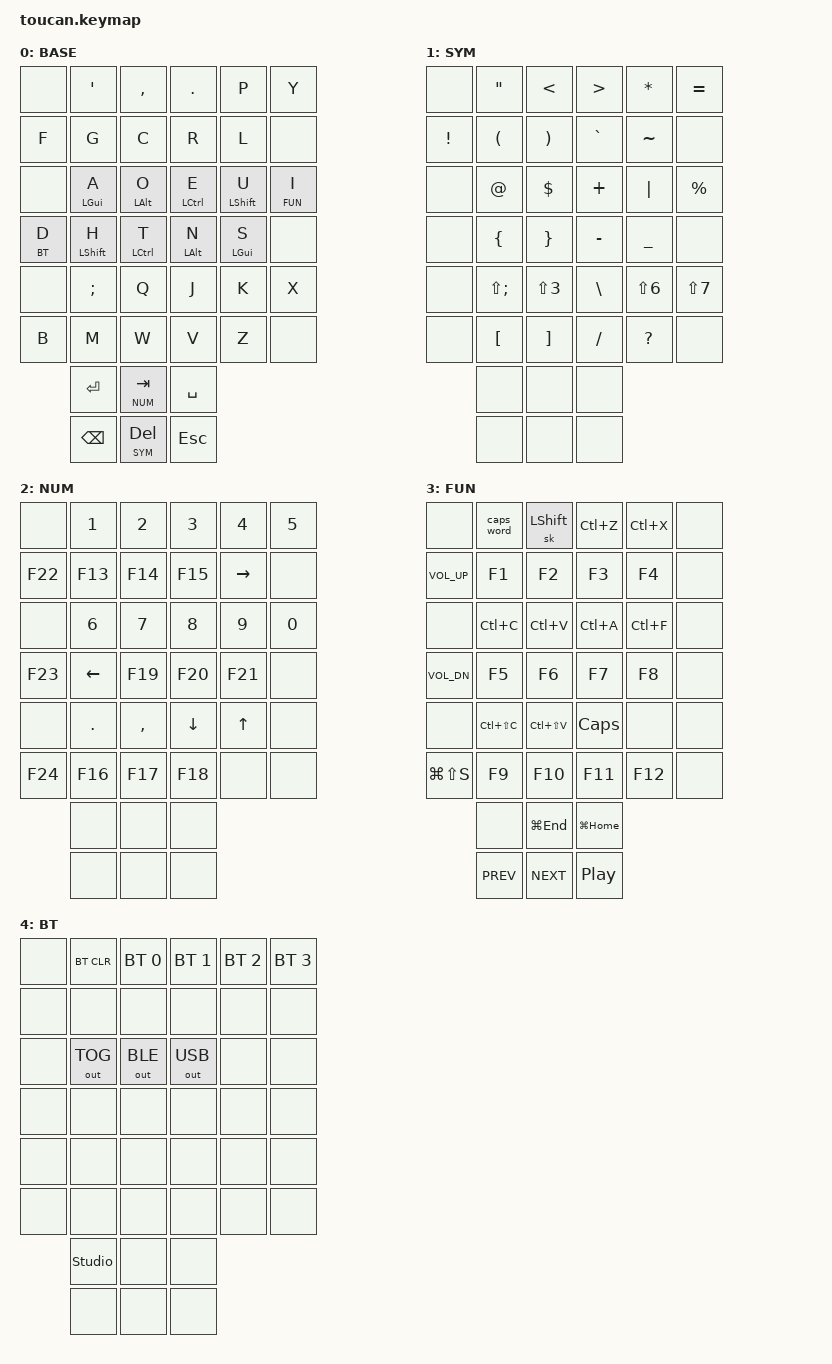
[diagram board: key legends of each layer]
// Toucan ZMK Keymap — converted from Dilemma Dvorak QMK layout
// Padded to 42-key matrix (6x3+3 per side) — outer column = &none

#include <behaviors.dtsi>
#include <dt-bindings/zmk/keys.h>
#include <dt-bindings/zmk/bt.h>
#include <dt-bindings/zmk/outputs.h>

#define BASE  0
#define SYM   1
#define NUM   2
#define FUN   3
#define BT    4

/ {
    behaviors {
        hml: homerow_mods_left {
            compatible = "zmk,behavior-hold-tap";
            #binding-cells = <2>;
            flavor = "balanced";
            tapping-term-ms = <280>;
            quick-tap-ms = <175>;
            require-prior-idle-ms = <150>;
            bindings = <&kp>, <&kp>;
            hold-trigger-key-positions = <6 7 8 9 10 11 18 19 20 21 22 23 30 31 32 33 34 35 39 40 41>;
            hold-trigger-on-release;
        };
        hmr: homerow_mods_right {
            compatible = "zmk,behavior-hold-tap";
            #binding-cells = <2>;
            flavor = "balanced";
            tapping-term-ms = <280>;
            quick-tap-ms = <175>;
            require-prior-idle-ms = <150>;
            bindings = <&kp>, <&kp>;
            hold-trigger-key-positions = <0 1 2 3 4 5 12 13 14 15 16 17 24 25 26 27 28 29 36 37 38>;
            hold-trigger-on-release;
        };

        studio_unlock: studio_unlock {
            compatible = "zmk,behavior-studio-unlock";
            #binding-cells = <0>;
        };

        // ── Layer-tap variants for easy tapping-term tuning ──────────────────
        // Swap the &lt alias in base_layer to one of these to test feel:

        // Faster: 200ms tapping-term, no quick-tap (maximises hold reliability)
        lt_fast: lt_fast {
            compatible = "zmk,behavior-hold-tap";
            #binding-cells = <2>;
            flavor = "balanced";
            tapping-term-ms = <200>;
            quick-tap-ms = <0>;
            require-prior-idle-ms = <125>;
            bindings = <&mo>, <&kp>;
        };

        // Default feel (same as built-in &lt but explicit)
        lt_default: lt_default {
            compatible = "zmk,behavior-hold-tap";
            #binding-cells = <2>;
            flavor = "balanced";
            tapping-term-ms = <280>;
            quick-tap-ms = <175>;
            require-prior-idle-ms = <150>;
            bindings = <&mo>, <&kp>;
        };

        // Slower/safer: 350ms tapping-term, generous quick-tap
        lt_slow: lt_slow {
            compatible = "zmk,behavior-hold-tap";
            #binding-cells = <2>;
            flavor = "balanced";
            tapping-term-ms = <350>;
            quick-tap-ms = <200>;
            require-prior-idle-ms = <175>;
            bindings = <&mo>, <&kp>;
        };
    };

    keymap {
        compatible = "zmk,keymap";

        // Layer 0: BASE (Dvorak)
        // _  '  ,  .  P  Y  |  F  G  C  R  L  _
        // _  A  O  E  U  I  |  D  H  T  N  S  _
        // _  ;  Q  J  K  X  |  B  M  W  V  Z  _
        //       ENT TAB SPC | BSPC DEL ESC
        //
        // To test LT feel: replace &lt with &lt_fast, &lt_default, or &lt_slow
        base_layer {
            label = "BASE";
            bindings = <
                &none  &kp QUOT      &kp COMMA     &kp DOT      &kp P        &kp Y
                       &kp F         &kp G         &kp C        &kp R        &kp L       &none

                &none  &hml LGUI A   &hml LALT O   &hml LCTRL E &hml LSHFT U &lt FUN I
                       &lt BT D      &hmr LSHFT H  &hmr LCTRL T &hmr LALT N  &hmr LGUI S &none

                &none  &kp SEMI      &kp Q         &kp J        &kp K        &kp X
                       &kp B         &kp M         &kp W        &kp V        &kp Z       &none

                       &kp RET       &lt NUM TAB   &kp SPACE
                       &kp BSPC      &lt SYM DEL   &kp ESC
            >;
        };

        // Layer 1: SYM (Symbols)
        sym_layer {
            label = "SYM";
            bindings = <
                &none  &kp DQT       &kp LT        &kp GT       &kp ASTRK    &kp EQUAL
                       &kp EXCL      &kp LPAR      &kp RPAR     &kp GRAVE    &kp TILDE   &none

                &none  &kp AT        &kp DLLR      &kp PLUS     &kp PIPE     &kp PRCNT
                       &none         &kp LBRC      &kp RBRC     &kp MINUS    &kp UNDER   &none

                &none  &kp LS(SEMI) &kp LS(N3) &kp BSLH &kp LS(N6) &kp LS(N7)
                       &none        &kp LBKT    &kp RBKT &kp SLASH  &kp QMARK  &none

                       &none         &none         &none
                       &none         &none         &none
            >;
        };

        // Layer 2: NUM (Numbers + Nav)
        num_layer {
            label = "NUM";
            bindings = <
                &none  &kp N1        &kp N2        &kp N3       &kp N4       &kp N5
                       &kp F22       &kp F13       &kp F14      &kp F15      &kp RIGHT   &none

                &none  &kp N6        &kp N7        &kp N8       &kp N9       &kp N0
                       &kp F23       &kp LEFT      &kp F19      &kp F20      &kp F21     &none

                &none  &kp DOT       &kp COMMA     &kp DOWN     &kp UP       &none
                       &kp F24       &kp F16       &kp F17      &kp F18      &none       &none

                       &none         &none         &none
                       &none         &none         &none
            >;
        };

        // Layer 3: FUN (Function + Media)
        fun_layer {
            label = "FUN";
            bindings = <
                &none  &caps_word    &sk LSHFT     &kp LC(Z)    &kp LC(X)    &none
                       &kp C_VOL_UP  &kp F1        &kp F2       &kp F3       &kp F4      &none

                &none  &kp LC(C)     &kp LC(V)     &kp LC(A)    &kp LC(F)    &none
                       &kp C_VOL_DN  &kp F5        &kp F6       &kp F7       &kp F8      &none

                &none  &kp LC(LS(C)) &kp LC(LS(V)) &kp CAPS     &none        &none
                       &kp LG(LS(S)) &kp F9        &kp F10      &kp F11      &kp F12     &none

                       &none         &kp LG(END)   &kp LG(HOME)
                       &kp C_PREV    &kp C_NEXT    &kp C_PP
            >;
        };

        // Layer 4: BT (Bluetooth + Output + Studio Unlock)
        // Top row   — BT_CLR | BT_SEL 0-3
        // Home row  — OUT_TOG | OUT_BLE | OUT_USB
        // Thumbs    — studio_unlock on left outer thumb (hold-D, then tap RET)
        bt_layer {
            label = "BT";
            bindings = <
                &none  &bt BT_CLR    &bt BT_SEL 0  &bt BT_SEL 1 &bt BT_SEL 2 &bt BT_SEL 3
                       &none         &none         &none         &none        &none       &none

                &none  &out OUT_TOG  &out OUT_BLE  &out OUT_USB  &none        &none
                       &none         &none         &none         &none        &none       &none

                &none  &none         &none         &none         &none        &none
                       &none         &none         &none         &none        &none       &none

                       &studio_unlock &none        &none
                       &none          &none        &none
            >;
        };
    };
};
